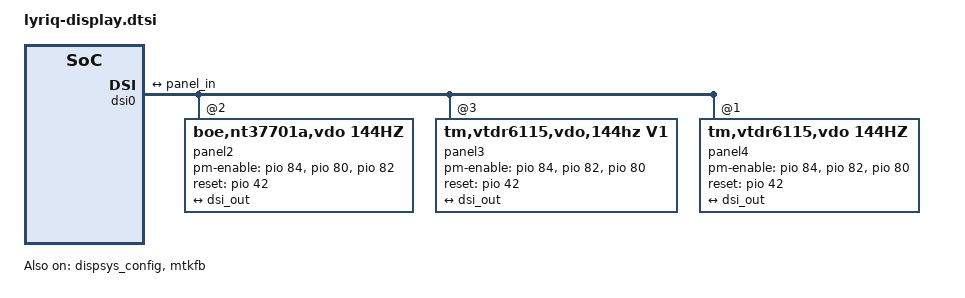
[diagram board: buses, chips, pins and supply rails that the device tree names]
/* Copyright (c) 2023, Motorola Mobility Inc. All rights reserved.
 *
 * This program is free software; you can redistribute it and/or modify
 * it under the terms of the GNU General Public License version 2 and
 * only version 2 as published by the Free Software Foundation.
 *
 * This program is distributed in the hope that it will be useful,
 * but WITHOUT ANY WARRANTY; without even the implied warranty of
 * MERCHANTABILITY or FITNESS FOR A PARTICULAR PURPOSE.  See the
 * GNU General Public License for more details.
 */
&dispsys_config {
	pinctrl-names =
		"lcm_rst_out1_gpio", "lcm_rst_out0_gpio",
		"mode_te_te";
	pinctrl-0 = <&mtkfb_pins_lcm_rst_out1_gpio>;
	pinctrl-1 = <&mtkfb_pins_lcm_rst_out0_gpio>;
	pinctrl-2 = <&mtkfb_pins_lcm_dsi_te>;
	status = "okay";
};

//guoqr1 london backlihgt config
&mtk_leds {
	/delete-property/ compatible;
	/delete-property/ led_mode;
	/delete-property/ gate_enable;
	/delete-property/ pwm_config;

	compatible = "mediatek,disp-leds";
	backlight {
		label = "lcd-backlight";
		led_mode = <4>;
		max-brightness = <4095>;
		max-hw-brightness = <4095>;
		default-brightness = <2577>;
	};
};

&dsi0 {
	status = "okay";

	panel1@0 {
		/delete-property/ compatible;
		/delete-property/ pm-enable-gpios;
		/delete-property/ reset-gpios;

		compatible = "mot,dummy,vdo,60hz";
	};

	panel2@1 {
		/delete-property/ compatible;
		/delete-property/ pm-enable-gpios;
		/delete-property/ reset-gpios;

		compatible = "boe,nt37701a,vdo,144hz";
		reg = <2>;
		pm-enable-gpios = <&pio 84 0>,
						  <&pio 80 0>,
						  <&pio 82 0>;
		reset-gpios = <&pio 42 0>;
		pinctrl-names = "default";
		lhbm-enable;
		port {
			panel_in: endpoint {
				remote-endpoint = <&dsi_out>;
			};
		};
	};
	panel3@2 {
		/delete-property/ compatible;
		/delete-property/ pm-enable-gpios;
		/delete-property/ reset-gpios;

		compatible = "tm,vtdr6115,vdo,144hz,v1";
		reg = <3>;
		pm-enable-gpios = <&pio 84 0>,
					<&pio 82 0>,
					<&pio 80 0>;
		reset-gpios = <&pio 42 0>;
		pinctrl-names = "default";
		lhbm-enable;
		port {
			panel_in2: endpoint {
				remote-endpoint = <&dsi_out>;
			};
		};
	};
	panel4@3 {
		/delete-property/ compatible;
		/delete-property/ pm-enable-gpios;
		/delete-property/ reset-gpios;

		compatible = "tm,vtdr6115,vdo,144hz";
		reg = <1>;
		pm-enable-gpios = <&pio 84 0>,
					<&pio 82 0>,
					<&pio 80 0>;
		reset-gpios = <&pio 42 0>;
		pinctrl-names = "default";
		lhbm-enable;
		port {
			panel_in3: endpoint {
				remote-endpoint = <&dsi_out>;
			};
		};
    };
	ports {
		port {
			dsi_out: endpoint {
				remote-endpoint = <&panel_in>;
			};
		};
	};
};
//END guoqr1

//BEGIN guoqr1 2024/10/29
/* DISPSYS GPIO standardization */

&mtkfb {
        /delete-property/ pinctrl-names;
        /delete-property/ pinctrl-0;
        /delete-property/ pinctrl-1;
        /delete-property/ pinctrl-2;
        /delete-property/ pinctrl-3;
        /delete-property/ pinctrl-4;
        /delete-property/ pinctrl-5;
        /delete-property/ pinctrl-6;

        pinctrl-names = "lcm_rst_out0_gpio", "mode_te_te",
                "oled_vci_en_gpio", "oled_vio_en_gpio",
                "oled_dvddin_en_gpio","oled_dvdd_en_gpio";
        pinctrl-0 = <&mtkfb_pins_lcm_rst_out0_gpio>;
        pinctrl-1 = <&mtkfb_pins_lcm_dsi_te>;
        pinctrl-2 = <&mtkfb_pins_oled_vci_en>;
        pinctrl-3 = <&mtkfb_pins_oled_vio_en>;
        pinctrl-4 = <&mtkfb_pins_oled_dvddin_en>;
		pinctrl-5 = <&mtkfb_pins_oled_dvdd_en>;
        status = "okay";
};

&pio {
	mtkfb_pins_lcm_rst_out1_gpio: lcm_rst_out1_gpio {
		pins_cmd_dat {
			pinmux = <PINMUX_GPIO42__FUNC_GPIO42>;
			slew-rate = <1>;
			output-high;
		};
	};

	mtkfb_pins_lcm_rst_out0_gpio: lcm_rst_out0_gpio {
		pins_cmd_dat {
			pinmux = <PINMUX_GPIO42__FUNC_GPIO42>;
			slew-rate = <1>;
			output-low;
		};
	};
	mtkfb_pins_lcm_dsi_te: lcm_dsi_te {
		pins_cmd_dat {
			pinmux = <PINMUX_GPIO41__FUNC_DSI_TE>;
		};
	};

	mtkfb_pins_oled_vci_en: oled_vci_en_gpio {
		pins_cmd_dat {
			pinmux = <PINMUX_GPIO82__FUNC_GPIO82>;
			slew-rate = <1>;
			output-low;
		};
	};

	mtkfb_pins_oled_vio_en: oled_vio_en_gpio {
		pins_cmd_dat {
			pinmux = <PINMUX_GPIO84__FUNC_GPIO84>;
			slew-rate = <1>;
			output-low;
		};
	};

	mtkfb_pins_oled_dvdd_en: oled_dvdd_en_gpio {
		pins_cmd_dat {
			pinmux = <PINMUX_GPIO80__FUNC_GPIO80>;
			slew-rate = <1>;
			output-low;
		};
	};

	mtkfb_pins_oled_dvddin_en: oled_dvddin_en_gpio {
		pins_cmd_dat {
			pinmux = <PINMUX_GPIO81__FUNC_GPIO81>;
			slew-rate = <1>;
			output-low;
		};
	};
};

&dp_tx {
	status = "disabled";
};


